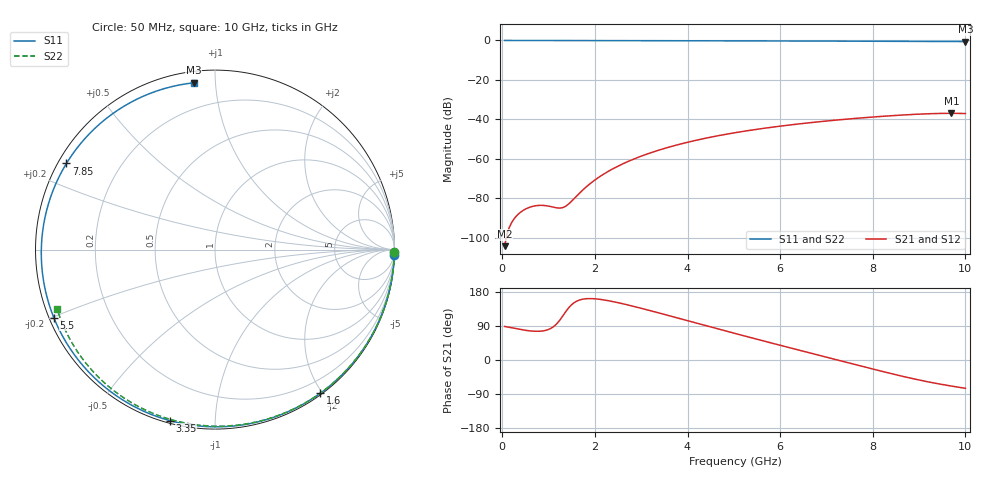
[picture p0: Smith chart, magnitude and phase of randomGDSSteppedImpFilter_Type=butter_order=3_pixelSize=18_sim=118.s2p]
! freq	dB(S11)	phase(S11)	dB(S12)	phase(S12)
!  dB(S21)	phase(S21)	dB(S22)	phase(S22)
!S-par simulation data
#  GHz  S  DB  R 50
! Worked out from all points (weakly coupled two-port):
!   200 points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, 50 MHz to 10 GHz, reference 50 ohm
!   highest |S21| = -36.94 dB at 9.7 GHz (marker M1); lowest = -104.3 dB at 50 MHz (marker M2)
!   lowest |S11| = -0.6 dB at 10 GHz (marker M3), VSWR 30.59, Z = 2.9 + j44 ohm
!   |S11| at or under -10 dB: nowhere
!   |S22| runs from -0.5 to 0.0 dB; largest |S21 - S12| = 0
!   S11 on the Smith chart (normalised r, x): 50 MHz: 0, -65; 1.6 GHz: 0.02, -1.97; 3.35 GHz: 0.01, -0.77; 5.5 GHz: 0.01, -0.20; 7.85 GHz: 0.02, +0.27; 10 GHz: 0.06, +0.88
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0.05  -0.00 -1.8  -104.25 88.5  -104.25 88.5  -0.00 -0.9
0.4  -0.02 -13.8  -86.93 80.3  -86.93 80.3  -0.01 -7.3
0.75  -0.03 -25.8  -83.67 75.7  -83.67 75.7  -0.02 -13.7
1.55  -0.06 -52.2  -80.18 151.1  -80.18 151.1  -0.04 -28.0
1.6  -0.07 -53.8  -78.97 154.8  -78.97 154.8  -0.04 -28.9
1.75  -0.07 -58.5  -75.52 160.7  -75.52 160.7  -0.04 -31.6
2.05  -0.08 -67.8  -69.88 160.9  -69.88 160.9  -0.05 -36.8
2.4  -0.10 -78.3  -64.89 153.9  -64.89 153.9  -0.06 -42.9
2.85  -0.11 -91.2  -60.00 141.1  -60.00 141.1  -0.07 -50.6
3.35  -0.13 -104.8  -55.81 125.2  -55.81 125.2  -0.08 -59.0
3.4  -0.13 -106.1  -55.44 123.6  -55.44 123.6  -0.08 -59.9
4.25  -0.16 -127.8  -50.25 95.5  -50.25 95.5  -0.10 -73.8
5.05  -0.20 -146.8  -46.66 69.3  -46.66 69.3  -0.13 -86.4
5.5  -0.22 -157.1  -45.01 54.8  -45.01 54.8  -0.15 -93.3
6.1  -0.26 -170.6  -43.14 35.7  -43.14 35.7  -0.18 -102.3
6.7  -0.30 175.9  -41.54 16.8  -41.54 16.8  -0.22 -111.2
7.25  -0.34 163.6  -40.26 -0.4  -40.26 -0.4  -0.26 -119.3
7.85  -0.38 149.9  -39.07 -19.2  -39.07 -19.2  -0.30 -128.0
8.35  -0.42 138.2  -38.21 -34.5  -38.21 -34.5  -0.35 -135.2
9.05  -0.48 121.3  -37.29 -54.1  -37.29 -54.1  -0.42 -145.4
9.7  -0.54 105.0  -36.94 -68.8  -36.94 -68.8  -0.50 -155.0
10  -0.57 97.2  -37.03 -74.7  -37.03 -74.7  -0.54 -159.5
